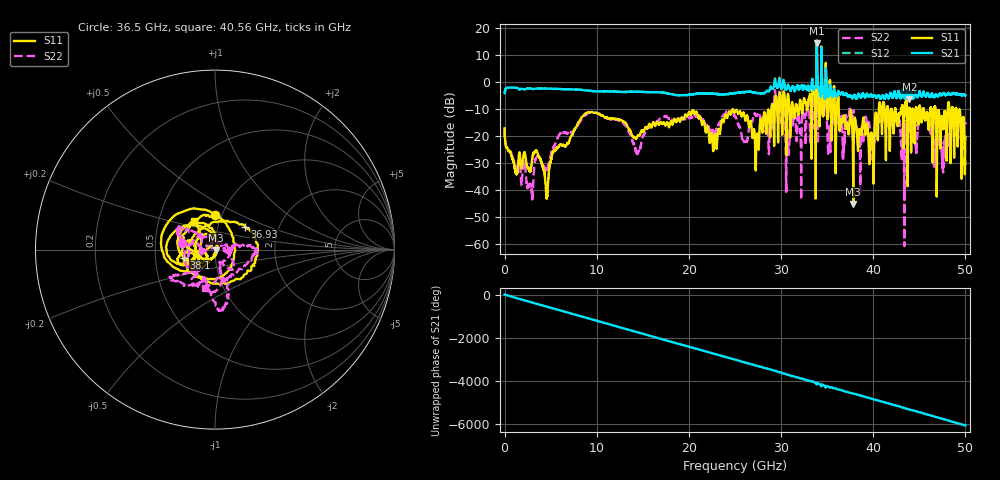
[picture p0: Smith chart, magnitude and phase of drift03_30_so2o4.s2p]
!Created with skrf (http://scikit-rf.org).
# Hz S RI R 50.0
!freq ReS11 ImS11 ReS21 ImS21 ReS12 ImS12 ReS22 ImS22
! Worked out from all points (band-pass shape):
!   10001 points, 300 kHz to 50 GHz, reference 50 ohm
!   highest |S21| = 14.45 dB at 33.88 GHz (marker M1); lowest = -6.3 dB at 43.92 GHz (marker M2)
!   |S21| within 3 dB of the highest: 33.86958 GHz to 33.88858 GHz (18.99 MHz wide, 0.0561 % of centre); 34.37726 GHz to 34.38936 GHz (12.1 MHz wide, 0.0352 % of centre)
!   lowest |S11| = -45.1 dB at 37.83 GHz (marker M3), VSWR 1.01, Z = 50.4 - j0.36 ohm
!   |S11| at or under -10 dB: start of sweep to 28.94 GHz; 36.27 GHz to 40.61 GHz (4.341 GHz wide, 11.3 % of centre); 46.75 GHz to 48.08 GHz (1.333 GHz wide, 2.81 % of centre) (the widest 3 of 55)
!   |S22| runs from -60.8 to 11.0 dB; largest |S21 - S12| = 0.82
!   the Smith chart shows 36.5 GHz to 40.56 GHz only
!   S11 on the Smith chart (normalised r, x): 36.5 GHz: 0.93, +0.37; 36.93 GHz: 1.35, +0.36; 38.1 GHz: 0.70, -0.07; 40.56 GHz: 0.75, +0.25
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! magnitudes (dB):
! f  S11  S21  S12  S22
! 300 kHz  -17.1  -4.0  -4.0  -16.9
! 2.825 GHz  -32.6  -2.4  -2.4  -38.3
! 4.565 GHz  -42.2  -2.3  -2.3  -32.3
! 8.335 GHz  -13.1  -2.8  -2.8  -13.9
! 14.43 GHz  -20.0  -3.5  -3.5  -26.3
! 16.67 GHz  -15.4  -3.7  -3.7  -14.3
! 22.82 GHz  -19.3  -4.3  -4.3  -19.1
! 25 GHz  -11.0  -4.0  -4.0  -12.6
! 27.39 GHz  -19.3  -4.1  -4.1  -12.4
! 29.6 GHz  -10.4  -2.0  -2.1  -11.7
! 30.7 GHz  -5.6  -1.4  -1.5  -17.1
! 33.34 GHz  -14.0  -0.4  -0.5  -7.1
! 33.88 GHz  15.5  14.5  14.1  10.9
! 36.5 GHz  -14.3  -4.3  -4.2  -14.5
! 36.93 GHz  -13.5  -4.5  -4.4  -17.7
! 37.83 GHz  -45.1  -5.5  -5.5  -11.1
! 38.1 GHz  -14.9  -5.7  -5.7  -16.8
! 39.82 GHz  -19.3  -4.9  -4.9  -23.5
! 40.56 GHz  -14.0  -4.9  -4.9  -13.2
! 41.67 GHz  -12.2  -5.9  -5.9  -15.0
! 43.92 GHz  -9.9  -6.3  -6.1  -16.9
! 50 GHz  -20.3  -4.9  -4.9  -15.1
